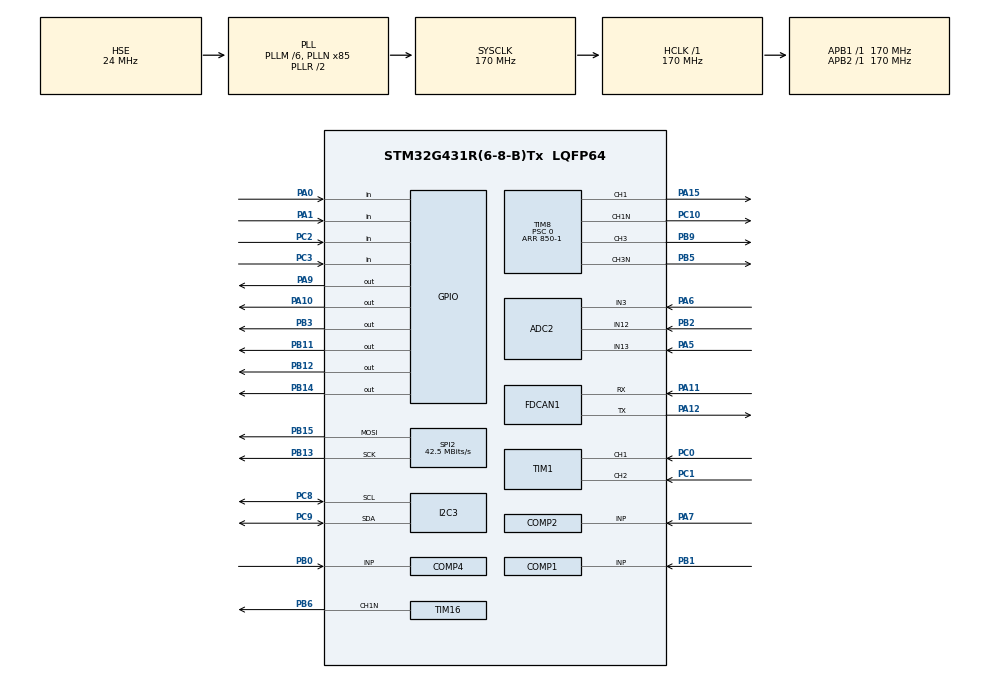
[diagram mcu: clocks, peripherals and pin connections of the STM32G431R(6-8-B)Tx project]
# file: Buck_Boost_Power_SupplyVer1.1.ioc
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ADC1.Channel-6\#ChannelRegularConversion=ADC_CHANNEL_15
ADC1.Channel-7\#ChannelRegularConversion=ADC_CHANNEL_12
ADC1.DMAContinuousRequests=ENABLE
ADC1.EOCSelection=ADC_EOC_SEQ_CONV
ADC1.EnableInjectedConversion=DISABLE
ADC1.EnableRegularConversion=ENABLE
ADC1.ExternalTrigConv=ADC_EXTERNALTRIG_T8_TRGO
ADC1.Mode=ADC_MODE_INDEPENDENT
ADC1.NbrOfConversion=2
ADC1.NbrOfConversionFlag=1
ADC1.OffsetNumber-6\#ChannelRegularConversion=ADC_OFFSET_NONE
ADC1.OffsetNumber-7\#ChannelRegularConversion=ADC_OFFSET_NONE
ADC1.OversamplingMode=DISABLE
ADC1.Rank-6\#ChannelRegularConversion=1
ADC1.Rank-7\#ChannelRegularConversion=2
ADC1.Rank1_Channel=ADC_CHANNEL_15
ADC1.Rank2_Channel=ADC_CHANNEL_12
ADC1.Rank3_Channel=ADC_CHANNEL_12
ADC1.SamplingTime-6\#ChannelRegularConversion=ADC_SAMPLETIME_6CYCLES_5
ADC1.SamplingTime-7\#ChannelRegularConversion=ADC_SAMPLETIME_6CYCLES_5
ADC1.master=1
ADC2.Channel-0\#ChannelRegularConversion=ADC_CHANNEL_12
ADC2.Channel-6\#ChannelRegularConversion=ADC_CHANNEL_4
ADC2.Channel-7\#ChannelRegularConversion=ADC_CHANNEL_3
ADC2.Channel-8\#ChannelRegularConversion=ADC_CHANNEL_13
ADC2.DMAContinuousRequests=ENABLE
ADC2.EOCSelection=ADC_EOC_SEQ_CONV
ADC2.EnableInjectedConversion=DISABLE
ADC2.EnableInjectedOversampling=ENABLE
ADC2.ExternalTrigConv=ADC_EXTERNALTRIG_T7_TRGO
ADC2.NbrOfConversion=4
ADC2.NbrOfConversionFlag=1
ADC2.OffsetNumber-0\#ChannelRegularConversion=ADC_OFFSET_NONE
ADC2.OffsetNumber-6\#ChannelRegularConversion=ADC_OFFSET_NONE
ADC2.OffsetNumber-7\#ChannelRegularConversion=ADC_OFFSET_NONE
ADC2.OffsetNumber-8\#ChannelRegularConversion=ADC_OFFSET_NONE
ADC2.OversamplingMode=ENABLE
ADC2.OversamplingStopReset=ADC_REGOVERSAMPLING_RESUMED_MODE
ADC2.Rank-0\#ChannelRegularConversion=1
ADC2.Rank-6\#ChannelRegularConversion=2
ADC2.Rank-7\#ChannelRegularConversion=3
ADC2.Rank-8\#ChannelRegularConversion=4
ADC2.Rank1_Channel=ADC_CHANNEL_12
ADC2.Rank2_Channel=ADC_CHANNEL_4
ADC2.Ratio=ADC_OVERSAMPLING_RATIO_4
ADC2.SamplingTime-0\#ChannelRegularConversion=ADC_SAMPLETIME_12CYCLES_5
ADC2.SamplingTime-6\#ChannelRegularConversion=ADC_SAMPLETIME_12CYCLES_5
ADC2.SamplingTime-7\#ChannelRegularConversion=ADC_SAMPLETIME_12CYCLES_5
ADC2.SamplingTime-8\#ChannelRegularConversion=ADC_SAMPLETIME_12CYCLES_5
DAC1.DAC_Channel-DAC_OUT2_Int=DAC_CHANNEL_2
DAC3.DAC_Channel-DAC_OUT2_Int=DAC_CHANNEL_2
Dma.ADC1.2.Direction=DMA_PERIPH_TO_MEMORY
Dma.ADC1.2.EventEnable=DISABLE
Dma.ADC1.2.Instance=DMA1_Channel3
Dma.ADC1.2.MemDataAlignment=DMA_MDATAALIGN_HALFWORD
Dma.ADC1.2.MemInc=DMA_MINC_ENABLE
Dma.ADC1.2.Mode=DMA_CIRCULAR
Dma.ADC1.2.PeriphDataAlignment=DMA_PDATAALIGN_HALFWORD
Dma.ADC1.2.PeriphInc=DMA_PINC_DISABLE
Dma.ADC1.2.Polarity=HAL_DMAMUX_REQ_GEN_RISING
Dma.ADC1.2.Priority=DMA_PRIORITY_HIGH
Dma.ADC1.2.RequestNumber=1
Dma.ADC1.2.SignalID=NONE
Dma.ADC1.2.SyncEnable=DISABLE
Dma.ADC1.2.SyncPolarity=HAL_DMAMUX_SYNC_NO_EVENT
Dma.ADC1.2.SyncRequestNumber=1
Dma.ADC1.2.SyncSignalID=NONE
Dma.ADC2.1.Direction=DMA_PERIPH_TO_MEMORY
Dma.ADC2.1.EventEnable=DISABLE
Dma.ADC2.1.Instance=DMA1_Channel2
Dma.ADC2.1.MemDataAlignment=DMA_MDATAALIGN_HALFWORD
Dma.ADC2.1.MemInc=DMA_MINC_ENABLE
Dma.ADC2.1.Mode=DMA_CIRCULAR
Dma.ADC2.1.PeriphDataAlignment=DMA_PDATAALIGN_HALFWORD
Dma.ADC2.1.PeriphInc=DMA_PINC_DISABLE
Dma.ADC2.1.Polarity=HAL_DMAMUX_REQ_GEN_RISING
Dma.ADC2.1.Priority=DMA_PRIORITY_HIGH
Dma.ADC2.1.RequestNumber=1
Dma.ADC2.1.SignalID=NONE
Dma.ADC2.1.SyncEnable=DISABLE
Dma.ADC2.1.SyncPolarity=HAL_DMAMUX_SYNC_NO_EVENT
Dma.ADC2.1.SyncRequestNumber=1
Dma.ADC2.1.SyncSignalID=NONE
Dma.Request0=SPI2_TX
Dma.Request1=ADC2
Dma.Request2=ADC1
Dma.SPI2_TX.0.Direction=DMA_MEMORY_TO_PERIPH
Dma.SPI2_TX.0.EventEnable=DISABLE
Dma.SPI2_TX.0.Instance=DMA1_Channel1
Dma.SPI2_TX.0.MemDataAlignment=DMA_MDATAALIGN_BYTE
Dma.SPI2_TX.0.MemInc=DMA_MINC_ENABLE
Dma.SPI2_TX.0.Mode=DMA_NORMAL
Dma.SPI2_TX.0.PeriphDataAlignment=DMA_PDATAALIGN_BYTE
Dma.SPI2_TX.0.PeriphInc=DMA_PINC_DISABLE
Dma.SPI2_TX.0.Polarity=HAL_DMAMUX_REQ_GEN_RISING
Dma.SPI2_TX.0.Priority=DMA_PRIORITY_LOW
Dma.SPI2_TX.0.RequestNumber=1
Dma.SPI2_TX.0.SignalID=NONE
Dma.SPI2_TX.0.SyncEnable=DISABLE
Dma.SPI2_TX.0.SyncPolarity=HAL_DMAMUX_SYNC_NO_EVENT
Dma.SPI2_TX.0.SyncRequestNumber=1
Dma.SPI2_TX.0.SyncSignalID=NONE
FDCAN1.CalculateBaudRateNominal=3541666
FDCAN1.CalculateTimeBitNominal=282
FDCAN1.CalculateTimeQuantumNominal=94.11764705882354
FREERTOS.Tasks01=defaultTask,24,256,StartDefaultTask,Default,NULL,Dynamic,NULL,NULL
I2C3.Timing=0x40B285C2
Mcu.Family=STM32G4
Mcu.Name=STM32G431R(6-8-B)Tx
Mcu.Package=LQFP64
NVIC.DMA1_Channel1_IRQn=true\:4\:0\:true\:false\:true\:false\:false\:true\:true
NVIC.DMA1_Channel2_IRQn=true\:2\:0\:true\:false\:true\:false\:false\:true\:true
NVIC.DMA1_Channel3_IRQn=true\:0\:0\:true\:false\:true\:false\:false\:true\:true
NVIC.PriorityGroup=NVIC_PRIORITYGROUP_4
NVIC.TIM1_TRG_COM_TIM17_IRQn=true\:5\:0\:false\:false\:true\:true\:true\:true\:true
NVIC.TIM2_IRQn=true\:15\:0\:false\:false\:true\:false\:false\:true\:true
NVIC.TimeBase=TIM2_IRQn
NVIC.TimeBaseIP=TIM2
PA0.GPIO_PuPd=GPIO_PULLUP
PA0.Signal=GPIO_Input
PA1.GPIO_PuPd=GPIO_PULLUP
PA1.Signal=GPIO_Input
PA10.Signal=GPIO_Output
PA11.Mode=FDCAN_Activate
PA11.Signal=FDCAN1_RX
PA12.Mode=FDCAN_Activate
PA12.Signal=FDCAN1_TX
PA13.Mode=Serial_Wire
PA13.Signal=SYS_JTMS-SWDIO
PA14.Mode=Serial_Wire
PA14.Signal=SYS_JTCK-SWCLK
PA15.GPIO_Speed=GPIO_SPEED_FREQ_VERY_HIGH
PA15.Signal=S_TIM8_CH1
PA5.Signal=SharedAnalog_PA5
PA6.Signal=SharedAnalog_PA6
PA7.Signal=SharedAnalog_PA7
PA9.Signal=GPIO_Output
PB0.Signal=SharedAnalog_PB0
PB1.Signal=SharedAnalog_PB1
PB11.GPIO_Speed=GPIO_SPEED_FREQ_HIGH
PB11.Signal=GPIO_Output
PB12.GPIO_Speed=GPIO_SPEED_FREQ_HIGH
PB12.Signal=GPIO_Output
PB13.GPIO_Speed=GPIO_SPEED_FREQ_VERY_HIGH
PB13.Mode=TX_Only_Simplex_Unidirect_Master
PB13.Signal=SPI2_SCK
PB14.GPIO_Speed=GPIO_SPEED_FREQ_HIGH
PB14.Signal=GPIO_Output
PB15.GPIO_Speed=GPIO_SPEED_FREQ_VERY_HIGH
PB15.Mode=TX_Only_Simplex_Unidirect_Master
PB15.Signal=SPI2_MOSI
PB2.Signal=SharedAnalog_PB2
PB3.GPIO_Speed=GPIO_SPEED_FREQ_HIGH
PB3.PinState=GPIO_PIN_RESET
PB3.Signal=GPIO_Output
PB5.GPIO_Speed=GPIO_SPEED_FREQ_VERY_HIGH
PB5.Mode=PWM Generation3 CH3 CH3N
PB5.Signal=TIM8_CH3N
PB6.Mode=PWM Generation1 CH1N
PB6.Signal=TIM16_CH1N
PB9.GPIO_FM9=__NULL
PB9.GPIO_Speed=GPIO_SPEED_FREQ_VERY_HIGH
PB9.Signal=S_TIM8_CH3
PC0.GPIO_PuPd=GPIO_PULLUP
PC0.Signal=S_TIM1_CH1
PC1.GPIO_ModeDefaultPP=GPIO_MODE_AF_PP
PC1.GPIO_PuPd=GPIO_PULLUP
PC1.Signal=S_TIM1_CH2
PC10.GPIO_Speed=GPIO_SPEED_FREQ_VERY_HIGH
PC10.Mode=PWM Generation1 CH1 CH1N
PC10.Signal=TIM8_CH1N
PC2.GPIO_PuPd=GPIO_PULLUP
PC2.Signal=GPIO_Input
PC3.GPIO_PuPd=GPIO_PULLUP
PC3.Signal=GPIO_Input
PC8.Mode=I2C
PC8.Signal=I2C3_SCL
PC9.Mode=I2C
PC9.Signal=I2C3_SDA
PF0-OSC_IN.Mode=HSE-External-Oscillator
PF0-OSC_IN.Signal=RCC_OSC_IN
PF1-OSC_OUT.Mode=HSE-External-Oscillator
PF1-OSC_OUT.Signal=RCC_OSC_OUT
ProjectManager.HeapSize=0x200
ProjectManager.StackSize=0x400
ProjectManager.TargetToolchain=CMake
RCC.ADC12Freq_Value=170000000
RCC.AHBFreq_Value=170000000
RCC.APB1Freq_Value=170000000
RCC.APB1TimFreq_Value=170000000
RCC.APB2Freq_Value=170000000
RCC.APB2TimFreq_Value=170000000
RCC.CK48CLockSelection=RCC_USBCLKSOURCE_HSI48
RCC.CortexFreq_Value=170000000
RCC.EXTERNAL_CLOCK_VALUE=12288000
RCC.HCLKFreq_Value=170000000
RCC.HSE_VALUE=24000000
RCC.HSI48_VALUE=48000000
RCC.HSI_VALUE=16000000
RCC.LSE_VALUE=32768
RCC.PLLM=RCC_PLLM_DIV6
RCC.PLLN=85
RCC.PLLSourceVirtual=RCC_PLLSOURCE_HSE
RCC.SYSCLKFreq_VALUE=170000000
RCC.SYSCLKSource=RCC_SYSCLKSOURCE_PLLCLK
RCC.USBFreq_Value=48000000
RCC.VCOOutputFreq_Value=340000000
SH.S_TIM1_CH1.0=TIM1_CH1,Encoder_Interface
SH.S_TIM1_CH2.0=TIM1_CH2,Encoder_Interface
SH.S_TIM8_CH1.0=TIM8_CH1,PWM Generation1 CH1 CH1N
SH.S_TIM8_CH3.0=TIM8_CH3,PWM Generation3 CH3 CH3N
SH.SharedAnalog_PA5.0=GPIO_Analog
SH.SharedAnalog_PA5.1=ADC2_IN13,IN13-Single-Ended
SH.SharedAnalog_PA6.0=GPIO_Analog
SH.SharedAnalog_PA6.1=ADC2_IN3,IN3-Single-Ended
SH.SharedAnalog_PA7.0=GPIO_Analog
SH.SharedAnalog_PA7.1=COMP2_INP,INP
SH.SharedAnalog_PA7.2=ADC2_IN4,IN4-Single-Ended
SH.SharedAnalog_PB0.0=COMP4_INP,INP
SH.SharedAnalog_PB0.1=ADC1_IN15,IN15-Single-Ended
SH.SharedAnalog_PB1.0=COMP1_INP,INP
SH.SharedAnalog_PB1.1=ADC1_IN12,IN12-Single-Ended
SH.SharedAnalog_PB2.0=GPIO_Analog
SH.SharedAnalog_PB2.1=ADC2_IN12,IN12-Single-Ended
SPI2.BaudRatePrescaler=SPI_BAUDRATEPRESCALER_4
SPI2.CalculateBaudRate=42.5 MBits/s
SPI2.DataSize=SPI_DATASIZE_8BIT
SPI2.Direction=SPI_DIRECTION_2LINES
SPI2.Mode=SPI_MODE_MASTER
SPI2.VirtualType=VM_MASTER
TIM1.EncoderMode=TIM_ENCODERMODE_TI12
TIM1.IC1Filter=4
TIM1.IC2Filter=8
TIM16.Channel=TIM_CHANNEL_1
TIM7.PeriodNoDither=24
TIM7.Prescaler=169
TIM7.TIM_MasterOutputTrigger=TIM_TRGO_UPDATE
TIM8.AsymmetricalDeadTime=ENABLE
TIM8.AutoReloadPreload=TIM_AUTORELOAD_PRELOAD_ENABLE
TIM8.AutomaticOutput=TIM_AUTOMATICOUTPUT_DISABLE
TIM8.Break2State=TIM_BREAK2_ENABLE
TIM8.BreakState=TIM_BREAK_ENABLE
TIM8.Channel-PWM\ Generation1\ CH1\ CH1N=TIM_CHANNEL_1
TIM8.Channel-PWM\ Generation3\ CH3\ CH3N=TIM_CHANNEL_3
TIM8.Channel-PWM\ Generation4\ No\ Output=TIM_CHANNEL_4
TIM8.CounterMode=TIM_COUNTERMODE_CENTERALIGNED2
TIM8.DeadTime=30
TIM8.DeadTimePreload=ENABLE
TIM8.Dithering=Enable
TIM8.FallingDeadTime=30
TIM8.Integer_PeriodDither=849
TIM8.OCIdleState_1=TIM_OCIDLESTATE_RESET
TIM8.OCNIdleState_1=TIM_OCNIDLESTATE_RESET
TIM8.OCNPolarity_1=TIM_OCNPOLARITY_HIGH
TIM8.OCPolarity_1=TIM_OCPOLARITY_HIGH
TIM8.OffStateIDLEMode=TIM_OSSI_DISABLE
TIM8.OffStateRunMode=TIM_OSSR_DISABLE
TIM8.PeriodNoDither=850-1
TIM8.Prescaler=0
TIM8.PulseNoDither_1=425
TIM8.PulseNoDither_3=425
TIM8.PulseNoDither_4=425
TIM8.RepetitionCounter=0
TIM8.SourceBRK2COMP1=TIM_BREAKINPUTSOURCE_ENABLE
TIM8.SourceBRK2COMP2=TIM_BREAKINPUTSOURCE_ENABLE
TIM8.SourceBRKCOMP1=TIM_BREAKINPUTSOURCE_ENABLE
TIM8.SourceBRKCOMP2=TIM_BREAKINPUTSOURCE_ENABLE
TIM8.TIM_MasterOutputTrigger=TIM_TRGO_OC4REF
VP_COMP1_VS_DAC3OUT1.Mode=INM_DAC3OUT1
VP_COMP2_VS_DAC1OUT2.Mode=INM_DAC1OUT2
VP_COMP4_VS_DAC3OUT2.Mode=INM_DAC3OUT2
VP_DAC1_VS_DACI1.Mode=DAC_OUT1_Int
VP_DAC1_VS_DACI2.Mode=DAC_OUT2_Int
VP_DAC3_VS_DACI1.Mode=DAC_OUT1_Int
VP_DAC3_VS_DACI2.Mode=DAC_OUT2_Int
VP_FREERTOS_VS_CMSIS_V2.Mode=CMSIS_V2
VP_SYS_VS_DBSignals.Mode=DisableDeadBatterySignals
VP_SYS_VS_tim2.Mode=TIM2
VP_TIM16_VS_ClockSourceINT.Mode=Enable_Timer
VP_TIM7_VS_ClockSourceINT.Mode=Enable_Timer
VP_TIM8_VS_ClockSourceINT.Mode=Internal
VP_TIM8_VS_no_output4.Mode=PWM Generation4 No Output
board=custom

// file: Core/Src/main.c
/* USER CODE BEGIN Header */
/**
  ******************************************************************************
  * @file           : main.c
  * @brief          : Main program body
  ******************************************************************************
  * @attention
  *
  * Copyright (c) 2026 STMicroelectronics.
  * All rights reserved.
  *
  * This software is licensed under terms that can be found in the LICENSE file
  * in the root directory of this software component.
  * If no LICENSE file comes with this software, it is provided AS-IS.
  *
  ******************************************************************************
  */
/* USER CODE END Header */
#include "main.h"
#include "cmsis_os.h"
#include "adc.h"
#include "comp.h"
#include "dac.h"
#include "dma.h"
#include "fdcan.h"
#include "i2c.h"
#include "spi.h"
#include "tim.h"
#include "gpio.h"

/* USER CODE BEGIN Includes */
#include "ST7789_SPI_Port.h"
#include "ST7789.h"
#include "button_port.h"
#include "encoder_port.h"
#include "ui_framework.h"
#include "ui_page_output.h"
#include "ui_page_control.h"
#include "control.h"
/* USER CODE END Includes */

/* USER CODE BEGIN PV */
uint8_t test_tick=0;
/* USER CODE END PV */

void SystemClock_Config(void);
void MX_FREERTOS_Init(void);
/* USER CODE BEGIN PFP */

// 使用示例：设置一个 50.06% 的微调占空比
// 50% 对应 425*16 = 6800，多加 1 个细分步进 = 6801

/* USER CODE END PFP */

int main(void)
{

  /* MCU Configuration--------------------------------------------------------*/

  /* Reset of all peripherals, Initializes the Flash interface and the Systick. */
  HAL_Init();

  /* USER CODE BEGIN Init */
  HAL_Delay(1000);
  /* USER CODE END Init */

  /* Configure the system clock */
  SystemClock_Config();

  /* Initialize all configured peripherals */
  MX_GPIO_Init();
  MX_DMA_Init();
  MX_FDCAN1_Init();
  MX_TIM8_Init();
  MX_DAC1_Init();
  MX_COMP1_Init();
  MX_COMP2_Init();
  MX_DAC3_Init();
  MX_SPI2_Init();
  MX_I2C3_Init();
  MX_TIM16_Init();
  MX_COMP4_Init();
  MX_TIM1_Init();
  MX_TIM7_Init();
  MX_ADC1_Init();
  MX_ADC2_Init();
  /* USER CODE BEGIN 2 */
  /* 1. ADC1 校准 (单端模式) */
  if (HAL_ADCEx_Calibration_Start(&hadc1, ADC_SINGLE_ENDED) != HAL_OK) {
      Error_Handler();
  }
  /* 2. ADC2 校准 (单端模式) */
  if (HAL_ADCEx_Calibration_Start(&hadc2, ADC_SINGLE_ENDED) != HAL_OK) {
      Error_Handler();
  }
  /* 启动 ADC2 (Slave) 的注入组中断/转换准备 */
  HAL_ADCEx_InjectedStart(&hadc2);

  /* 启动 ADC1 (Master) 的注入组，并开启中断 */
  /* 只有 Master 产生 JEOC 中断，Slave 的结果会通过硬件同步到共享寄存器 */
  HAL_ADCEx_InjectedStart_IT(&hadc1);
  // 1. 调用 Port 层包装的初始化函数 (内部包含了硬件复位和寄存器配置)
  LCD_Init();
  Button_Port_Init();
  Encoder_Init();
  Control_Init();
  // 2. 初始化 UI 框架并注册页面
  UI_Init();
  static UI_Page_t *pages[] = {
      &ui_page_output,
      &ui_page_control,
  };
  UI_RegisterPages(pages, sizeof(pages) / sizeof(pages[0]));

  HAL_TIM_PWM_Start(&htim8, TIM_CHANNEL_1);
  HAL_TIMEx_PWMN_Start(&htim8, TIM_CHANNEL_1);
  HAL_TIM_PWM_Start(&htim8, TIM_CHANNEL_3);
  HAL_TIMEx_PWMN_Start(&htim8, TIM_CHANNEL_3);
  //HAL_TIM_PWM_Start_IT(&htim17,TIM_CHANNEL_1 );
  //HAL_TIM_Base_Start_IT(&htim7);
  HAL_TIM_Base_Start_IT(&htim7);
  HAL_TIM_Encoder_Start(&htim1, TIM_CHANNEL_ALL);
  //HAL_TIM_Base_Start(&htim1);
 // __HAL_TIM_SET_COUNTER(&htim1, 32768);
 #define SET_PWM_DUTY_HIGH_RES(HANDLE, CH, VALUE)  __HAL_TIM_SET_COMPARE(HANDLE, CH, VALUE)
  SET_PWM_DUTY_HIGH_RES(&htim8, TIM_CHANNEL_1, 12440);
  __HAL_TIM_MOE_ENABLE(&htim8);
  SET_PWM_DUTY_HIGH_RES(&htim8, TIM_CHANNEL_3, 12440);

  Power_Set_Safe_PWM();
//13600满占空比

//   // 3. 静态色彩测试 (利用缓冲区中转，刷屏会比之前更快)
  // LCD_Clear(ST7789_COLOR_RED);
  // HAL_Delay(500);
  // LCD_Clear(ST7789_COLOR_GREEN);
  // HAL_Delay(500);
  // LCD_Clear(ST7789_COLOR_BLUE);
  // HAL_Delay(500);

  // 4. 绘制彩条测试
  // LCD_Fill(0, 0,   240, 40, ST7789_COLOR_RED);
  // LCD_Fill(0, 40,  240, 40, ST7789_COLOR_GREEN);
  // LCD_Fill(0, 80,  240, 40, ST7789_COLOR_BLUE);
  // LCD_Fill(0, 120, 240, 40, ST7789_COLOR_YELLOW);
  // LCD_Fill(0, 160, 240, 40, ST7789_COLOR_CYAN);
  // LCD_Fill(0, 200, 240, 40, ST7789_COLOR_MAGENTA);
  //HAL_Delay(1000);
  /* USER CODE END 2 */

  /* Init scheduler */
  osKernelInitialize();  /* Call init function for freertos objects (in cmsis_os2.c) */
  MX_FREERTOS_Init();

  /* Start scheduler */
  osKernelStart();

  /* We should never get here as control is now taken by the scheduler */

  /* Infinite loop */
  /* USER CODE BEGIN WHILE */
  while (1)
  {
    /* UI_Draw 已由独立的 uiDrawTask 处理 */
    HAL_Delay(50);

    // 状态灯闪烁
    HAL_GPIO_TogglePin(GPIOA, GPIO_PIN_9);
    HAL_GPIO_TogglePin(GPIOA, GPIO_PIN_10);

    /* USER CODE END WHILE */

  }
}

void SystemClock_Config(void)
{
  RCC_OscInitTypeDef RCC_OscInitStruct = {0};
  RCC_ClkInitTypeDef RCC_ClkInitStruct = {0};

  /** Configure the main internal regulator output voltage
  */
  HAL_PWREx_ControlVoltageScaling(PWR_REGULATOR_VOLTAGE_SCALE1_BOOST);

  /** Initializes the RCC Oscillators according to the specified parameters
  * in the RCC_OscInitTypeDef structure.
  */
  RCC_OscInitStruct.OscillatorType = RCC_OSCILLATORTYPE_HSE;
  RCC_OscInitStruct.HSEState = RCC_HSE_ON;
  RCC_OscInitStruct.PLL.PLLState = RCC_PLL_ON;
  RCC_OscInitStruct.PLL.PLLSource = RCC_PLLSOURCE_HSE;
  RCC_OscInitStruct.PLL.PLLM = RCC_PLLM_DIV6;
  RCC_OscInitStruct.PLL.PLLN = 85;
  RCC_OscInitStruct.PLL.PLLP = RCC_PLLP_DIV2;
  RCC_OscInitStruct.PLL.PLLQ = RCC_PLLQ_DIV2;
  RCC_OscInitStruct.PLL.PLLR = RCC_PLLR_DIV2;
  if (HAL_RCC_OscConfig(&RCC_OscInitStruct) != HAL_OK)
  {
    Error_Handler();
  }

  /** Initializes the CPU, AHB and APB buses clocks
  */
  RCC_ClkInitStruct.ClockType = RCC_CLOCKTYPE_HCLK|RCC_CLOCKTYPE_SYSCLK
                              |RCC_CLOCKTYPE_PCLK1|RCC_CLOCKTYPE_PCLK2;
  RCC_ClkInitStruct.SYSCLKSource = RCC_SYSCLKSOURCE_PLLCLK;
  RCC_ClkInitStruct.AHBCLKDivider = RCC_SYSCLK_DIV1;
  RCC_ClkInitStruct.APB1CLKDivider = RCC_HCLK_DIV1;
  RCC_ClkInitStruct.APB2CLKDivider = RCC_HCLK_DIV1;

  if (HAL_RCC_ClockConfig(&RCC_ClkInitStruct, FLASH_LATENCY_4) != HAL_OK)
  {
    Error_Handler();
  }
}

void HAL_TIM_PeriodElapsedCallback(TIM_HandleTypeDef *htim)
{
  if (htim->Instance == TIM2)
  {
    HAL_IncTick();
  }
}

void Error_Handler(void)
{
  __disable_irq();
  while (1)
  {
  }
}

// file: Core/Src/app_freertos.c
/* USER CODE BEGIN Header */
/**
  ******************************************************************************
  * File Name          : app_freertos.c
  * Description        : Code for freertos applications
  ******************************************************************************
  * @attention
  *
  * Copyright (c) 2026 STMicroelectronics.
  * All rights reserved.
  *
  * This software is licensed under terms that can be found in the LICENSE file
  * in the root directory of this software component.
  * If no LICENSE file comes with this software, it is provided AS-IS.
  *
  ******************************************************************************
  */
/* USER CODE END Header */

#include "FreeRTOS.h"
#include "task.h"
#include "main.h"
#include "cmsis_os.h"

/* USER CODE BEGIN Includes */
#include "ui_page_output.h"
#include "button_port.h"
#include "ui_framework.h"
/* USER CODE END Includes */

/* Definitions for defaultTask */
osThreadId_t defaultTaskHandle;
const osThreadAttr_t defaultTask_attributes = {
  .name = "defaultTask",
  .priority = (osPriority_t) osPriorityNormal,
  .stack_size = 256 * 4
};

/* Definitions for uiDrawTask */
osThreadId_t uiDrawTaskHandle;
const osThreadAttr_t uiDrawTask_attributes = {
  .name = "uiDrawTask",
  .priority = (osPriority_t) osPriorityBelowNormal,
  .stack_size = 512 * 4
};

void StartDefaultTask(void *argument);
void StartUIDrawTask(void *argument);

void MX_FREERTOS_Init(void); /* (MISRA C 2004 rule 8.1) */

void MX_FREERTOS_Init(void) {

  /* Create the thread(s) */
  /* creation of defaultTask */
  defaultTaskHandle = osThreadNew(StartDefaultTask, NULL, &defaultTask_attributes);

  /* creation of uiDrawTask */
  uiDrawTaskHandle = osThreadNew(StartUIDrawTask, NULL, &uiDrawTask_attributes);

}

void StartDefaultTask(void *argument)
{
  /* USER CODE BEGIN StartDefaultTask */
  /* 等待 UI 框架初始化完成 */
  osDelay(50);

  /* Infinite loop — 按键扫描 + UI 事件处理（高优先级，不被绘制阻塞） */
  for(;;)
  {
    Button_Port_Tick_Handler();
    UI_Tick_Handler();  // UI 心跳（内部 10ms 分频）
    osDelay(5);
  }
  /* USER CODE END StartDefaultTask */
}

void StartUIDrawTask(void *argument)
{
  /* USER CODE BEGIN StartUIDrawTask */
  /* 等待按键任务先完成初始化 */
  osDelay(100);

  /* Infinite loop — 仅负责屏幕刷新（较低优先级） */
  for(;;)
  {
    UI_Draw_Handler();
    osDelay(50);
  }
  /* USER CODE END StartUIDrawTask */
}
